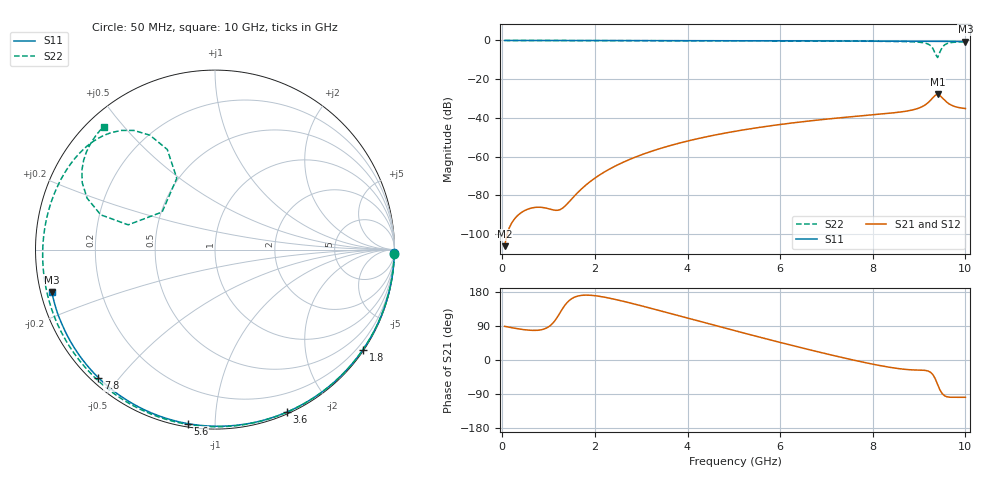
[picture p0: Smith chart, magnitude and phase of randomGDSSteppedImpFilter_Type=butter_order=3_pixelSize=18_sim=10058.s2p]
! freq	dB(S11)	phase(S11)	dB(S12)	phase(S12)
!  dB(S21)	phase(S21)	dB(S22)	phase(S22)
!S-par simulation data
#  GHz  S  DB  R 50
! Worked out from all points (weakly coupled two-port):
!   200 points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, 50 MHz to 10 GHz, reference 50 ohm
!   highest |S21| = -27.87 dB at 9.4 GHz (marker M1); lowest = -106.3 dB at 50 MHz (marker M2)
!   lowest |S11| = -0.5 dB at 10 GHz (marker M3), VSWR 31.88, Z = 1.59 - j6.39 ohm
!   |S11| at or under -10 dB: nowhere
!   |S22| runs from -8.8 to 0.0 dB; largest |S21 - S12| = 0
!   S11 on the Smith chart (normalised r, x): 50 MHz: open; 1.8 GHz: 0.03, -3.27; 3.6 GHz: 0.02, -1.54; 5.6 GHz: 0.02, -0.86; 7.8 GHz: 0.02, -0.44; 10 GHz: 0.03, -0.13
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0.05  -0.00 -0.9  -106.30 88.8  -106.30 88.8  -0.01 -1.4
0.75  -0.02 -14.3  -86.19 78.3  -86.19 78.3  -0.03 -21.8
1.55  -0.04 -29.4  -80.56 165.2  -80.56 165.2  -0.06 -44.3
1.75  -0.04 -33.1  -75.85 171.0  -75.85 171.0  -0.06 -49.8
1.8  -0.04 -34.0  -74.81 171.2  -74.81 171.2  -0.06 -51.1
2.45  -0.06 -45.9  -64.76 159.6  -64.76 159.6  -0.08 -68.4
3.4  -0.08 -62.7  -55.90 130.2  -55.90 130.2  -0.12 -92.1
3.6  -0.09 -66.1  -54.49 123.7  -54.49 123.7  -0.12 -96.9
5.05  -0.14 -90.2  -46.84 76.4  -46.84 76.4  -0.19 -129.8
5.6  -0.16 -98.9  -44.75 58.9  -44.75 58.9  -0.22 -141.6
6.7  -0.23 -115.8  -41.41 25.1  -41.41 25.1  -0.29 -165.0
7.8  -0.31 -132.3  -38.84 -6.0  -38.84 -6.0  -0.40 171.0
8.35  -0.36 -140.5  -37.64 -18.9  -37.64 -18.9  -0.49 157.8
8.9  -0.42 -148.7  -35.66 -26.4  -35.66 -26.4  -0.75 141.2
9.2  -0.45 -153.2  -32.02 -29.3  -32.02 -29.3  -1.91 124.2
9.3  -0.46 -154.6  -29.51 -38.9  -29.51 -38.9  -4.18 115.5
9.35  -0.47 -155.4  -28.33 -49.8  -28.33 -49.8  -6.92 118.2
9.4  -0.47 -156.1  -27.87 -64.6  -27.87 -64.6  -8.84 144.6
9.45  -0.47 -156.9  -28.44 -79.0  -28.44 -79.0  -5.97 164.1
9.55  -0.48 -158.5  -30.88 -94.4  -30.88 -94.4  -2.29 158.1
9.75  -0.51 -161.6  -33.97 -98.3  -33.97 -98.3  -0.93 142.9
10  -0.55 -165.4  -35.17 -98.4  -35.17 -98.4  -0.68 132.2
